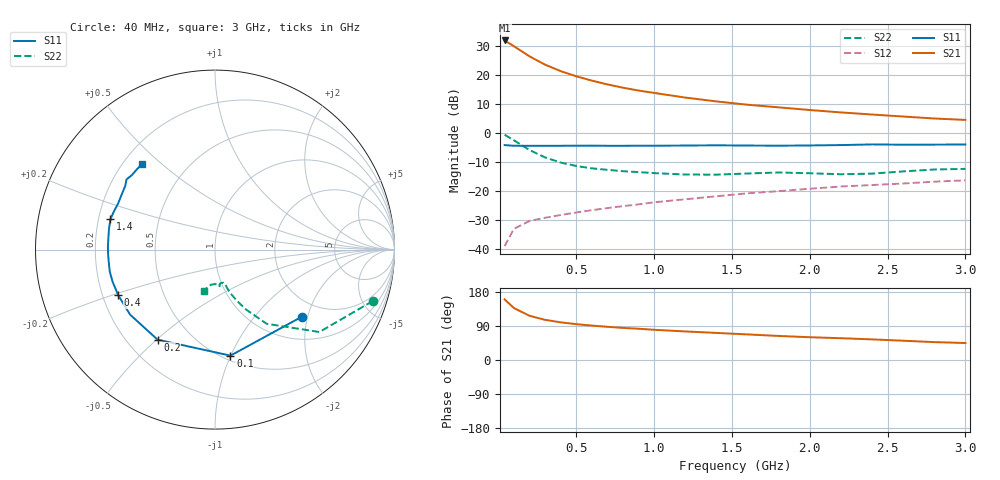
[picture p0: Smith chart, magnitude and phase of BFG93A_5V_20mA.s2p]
! Filename:  BFG93AC.S2P  Version:  2.0
! Philips part #: BFG 93A  Date: Jun 1990
! Bias condition: Vce=5V, Ic=20mA
! IN LINE PINNING: same data as with cross emitter pinning.
#  MHz  S  MA  R  50
! Freq  S11  S21  S12  S22  !GUM [dB]
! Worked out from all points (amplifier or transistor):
!   21 points, 40 MHz to 3 GHz, reference 50 ohm
!   highest |S21| = 31.9 dB at 40 MHz (marker M1)
!   |S21| within 3 dB of that: start of sweep to 128.6 MHz
!   unconditionally stable (mu >= 1): 807.5 MHz to end of sweep
!   at 300 MHz: K = 0.58, MSG = 26.4 dB, |S12| = -29.4 dB
!   at 1 GHz: K = 1.06, MAG = 17.4 dB, |S12| = -24.0 dB
!   at 3 GHz: K = 1.23, MAG = 7.5 dB, |S12| = -16.4 dB
!   S11 on the Smith chart (normalised r, x): 40 MHz: 1.55, -1.84; 100 MHz: 0.54, -1.00; 200 MHz: 0.32, -0.50; 400 MHz: 0.27, -0.21; 1.4 GHz: 0.25, +0.13; 3 GHz: 0.27, +0.44
40  0.612 -37.6  39.29 159.9  0.011 74.2  0.924 -18.1
100  0.597 -81.7  31.2 137.1  0.022 58.4  0.741 -38.3
200  0.595 -122.5  20.88 116.6  0.03 47.2  0.503 -55.2
300  0.596 -142.6  15 106.0  0.034 46.2  0.375 -62.7
400  0.596 -154.7  11.61 99.4  0.038 46.7  0.306 -67.1
500  0.598 -162.7  9.464 94.6  0.042 48.9  0.267 -69.8
600  0.599 -168.3  7.955 90.8  0.046 50.8  0.243 -71.3
700  0.596 -173.7  6.848 87.6  0.05 52.7  0.229 -72.2
800  0.596 -177.4  6.007 84.7  0.054 54.6  0.217 -72.8
900  0.597 178.6  5.361 82.5  0.058 56.0  0.209 -73.0
1000  0.597 175.1  4.88 79.7  0.063 56.9  0.201 -73.3
1200  0.602 168.8  4.055 75.4  0.071 59.2  0.19 -76.1
1400  0.607 163.7  3.482 71.5  0.08 60.3  0.189 -80.7
1600  0.602 159.5  3.048 67.5  0.09 61.0  0.198 -82.8
1800  0.598 154.3  2.748 63.5  0.098 61.4  0.206 -82.8
2000  0.604 149.2  2.471 60.1  0.108 61.8  0.2 -84.2
2200  0.613 144.7  2.246 57.5  0.118 61.8  0.192 -89.3
2400  0.629 141.6  2.065 54.4  0.125 61.9  0.197 -96.5
2600  0.622 138.1  1.908 50.9  0.133 62.2  0.215 -101.6
2800  0.624 134.2  1.763 47.2  0.143 62.1  0.232 -103.7
3000  0.628 130.2  1.668 44.8  0.151 59.4  0.238 -105.3
